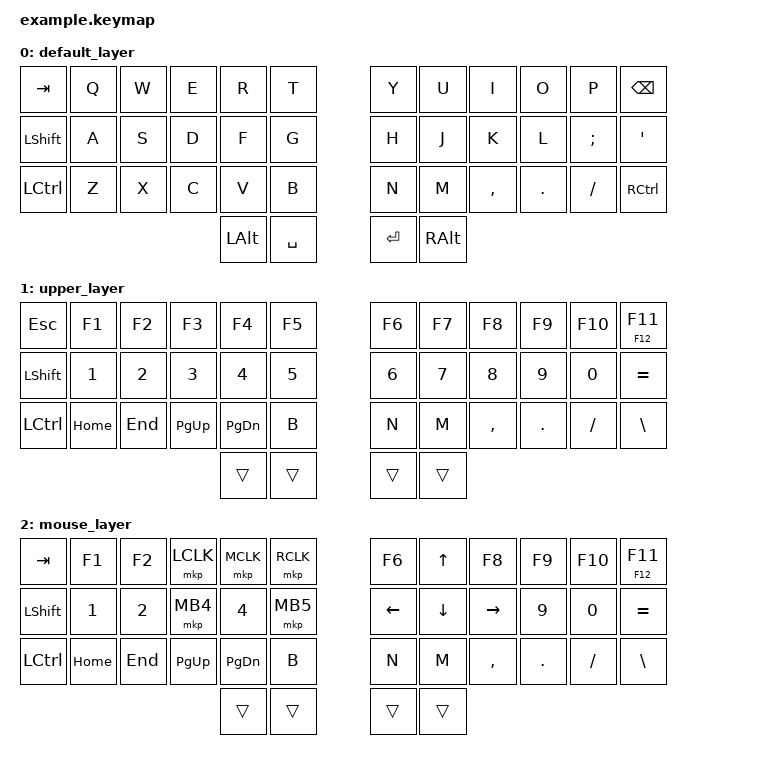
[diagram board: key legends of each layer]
/*
 * Copyright (c) 2020 The ZMK Contributors
 *
 * SPDX-License-Identifier: MIT
 */
// 디폴트 키맵 설정

#include <behaviors.dtsi>
#include <dt-bindings/zmk/keys.h>
#include <dt-bindings/zmk/mouse.h>

&mt {
    quick-tap-ms = <170>;
    require-prior-idle-ms = <80>;
    flavor = "balanced";
    hold-trigger-on-release;
};

/ {
    keymap {
        compatible = "zmk,keymap";

        default_layer {
            // ------------------------------------------------------------------------------------------------------------
            // |  TAB  |  Q  |  W  |  E   |  R   |  T   |                   |  Y   |  U    |  I    |  O   |   P   |   -   |
            // |  CTRL |  A  |  S  |  D   |  F   |  G   |                   |  H   |  J    |  K    |  L   |   ;   |   '   |
            // |   3   |  Z  |  X  |  C   |  V   |  B   |                   |  N   |  M    |  ,    |  .   |   /   | SHIFT |
            //                            | SPACE| DEL  |                   | BSPC |  RET  | 

            bindings = <
&kp TAB     &kp Q  &kp W  &kp E     &kp R      &kp T    &kp Y  &kp U      &kp I          &kp O    &kp P          &kp BACKSPACE
&kp LSHIFT  &kp A  &kp S  &kp D     &kp F      &kp G    &kp H  &kp J      &kp K          &kp L    &kp SEMICOLON  &kp SQT
&kp LCTRL   &kp Z  &kp X  &kp C     &kp V      &kp B    &kp N  &kp M      &kp COMMA      &kp DOT  &kp FSLH       &kp RCTRL
                          &kp LALT  &kp SPACE                  &kp ENTER  &kp RIGHT_ALT
            >;
        };

        upper_layer {
            bindings = <
&kp ESC     &kp F1    &kp F2   &kp F3     &kp F4     &kp F5    &kp F6  &kp F7  &kp F8     &kp F9   &kp F10   &mt F12 F11
&kp LSHIFT  &kp N1    &kp N2   &kp N3     &kp N4     &kp N5    &kp N6  &kp N7  &kp N8     &kp N9   &kp N0    &kp EQUAL
&kp LCTRL   &kp HOME  &kp END  &kp PG_UP  &kp PG_DN  &kp B     &kp N   &kp M   &kp COMMA  &kp DOT  &kp FSLH  &kp BSLH
                               &trans     &trans                       &trans  &trans
            >;
        };

        mouse_layer {
            bindings = <
&kp TAB     &kp F1    &kp F2   &mkp LCLK  &mkp MCLK  &mkp RCLK    &kp F6          &kp UP_ARROW    &kp F8           &kp F9   &kp F10   &mt F12 F11
&kp LSHIFT  &kp N1    &kp N2   &mkp MB4   &kp N4     &mkp MB5     &kp LEFT_ARROW  &kp DOWN_ARROW  &kp RIGHT_ARROW  &kp N9   &kp N0    &kp EQUAL
&kp LCTRL   &kp HOME  &kp END  &kp PG_UP  &kp PG_DN  &kp B        &kp N           &kp M           &kp COMMA        &kp DOT  &kp FSLH  &kp BSLH
                               &trans     &trans                                  &trans          &trans
            >;
        };
    };
};
